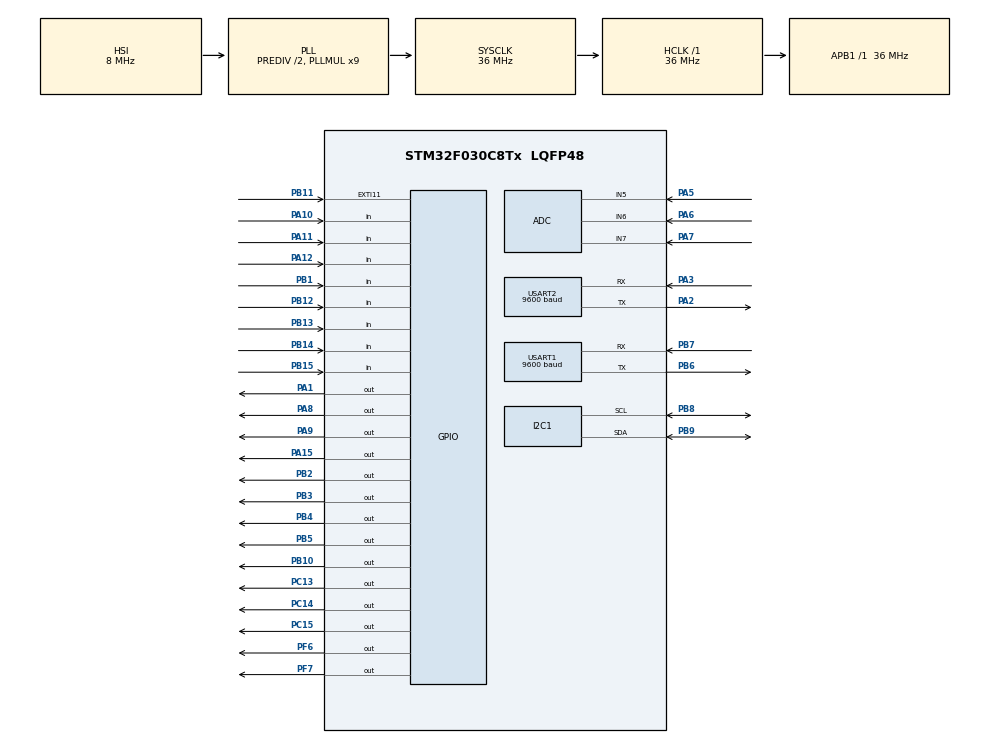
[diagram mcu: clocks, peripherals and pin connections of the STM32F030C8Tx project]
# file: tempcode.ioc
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ADC.ClockPrescaler=ADC_CLOCK_ASYNC_DIV1
ADC.ContinuousConvMode=ENABLE
ADC.DMAContinuousRequests=ENABLE
ADC.ExternalTrigConv=ADC_SOFTWARE_START
ADC.SamplingTime=ADC_SAMPLETIME_28CYCLES_5
Dma.ADC.0.Direction=DMA_PERIPH_TO_MEMORY
Dma.ADC.0.Instance=DMA1_Channel1
Dma.ADC.0.MemDataAlignment=DMA_MDATAALIGN_HALFWORD
Dma.ADC.0.MemInc=DMA_MINC_ENABLE
Dma.ADC.0.Mode=DMA_CIRCULAR
Dma.ADC.0.PeriphDataAlignment=DMA_PDATAALIGN_HALFWORD
Dma.ADC.0.PeriphInc=DMA_PINC_DISABLE
Dma.ADC.0.Priority=DMA_PRIORITY_LOW
Dma.Request0=ADC
Dma.Request1=USART2_RX
Dma.Request2=USART1_RX
Dma.USART1_RX.2.Direction=DMA_PERIPH_TO_MEMORY
Dma.USART1_RX.2.Instance=DMA1_Channel3
Dma.USART1_RX.2.MemDataAlignment=DMA_MDATAALIGN_BYTE
Dma.USART1_RX.2.MemInc=DMA_MINC_ENABLE
Dma.USART1_RX.2.Mode=DMA_NORMAL
Dma.USART1_RX.2.PeriphDataAlignment=DMA_PDATAALIGN_BYTE
Dma.USART1_RX.2.PeriphInc=DMA_PINC_DISABLE
Dma.USART1_RX.2.Priority=DMA_PRIORITY_LOW
Dma.USART2_RX.1.Direction=DMA_PERIPH_TO_MEMORY
Dma.USART2_RX.1.Instance=DMA1_Channel5
Dma.USART2_RX.1.MemDataAlignment=DMA_MDATAALIGN_BYTE
Dma.USART2_RX.1.MemInc=DMA_MINC_ENABLE
Dma.USART2_RX.1.Mode=DMA_NORMAL
Dma.USART2_RX.1.PeriphDataAlignment=DMA_PDATAALIGN_BYTE
Dma.USART2_RX.1.PeriphInc=DMA_PINC_DISABLE
Dma.USART2_RX.1.Priority=DMA_PRIORITY_LOW
I2C1.Timing=0x00808CD2
Mcu.Family=STM32F0
Mcu.Name=STM32F030C8Tx
Mcu.Package=LQFP48
NVIC.DMA1_Channel1_IRQn=true\:0\:0\:false\:false\:true\:false\:true\:true
NVIC.DMA1_Channel2_3_IRQn=true\:0\:0\:false\:false\:true\:false\:true\:true
NVIC.DMA1_Channel4_5_IRQn=true\:0\:0\:false\:false\:true\:false\:true\:true
NVIC.USART1_IRQn=true\:0\:0\:false\:false\:true\:true\:true\:true
NVIC.USART2_IRQn=true\:0\:0\:false\:false\:true\:true\:true\:true
PA1.Signal=GPIO_Output
PA10.Signal=GPIO_Input
PA11.Signal=GPIO_Input
PA12.Signal=GPIO_Input
PA13.Mode=Serial_Wire
PA13.Signal=SYS_SWDIO
PA14.Mode=Serial_Wire
PA14.Signal=SYS_SWCLK
PA15.Signal=GPIO_Output
PA2.Mode=Asynchronous
PA2.Signal=USART2_TX
PA3.Mode=Asynchronous
PA3.Signal=USART2_RX
PA5.Mode=IN5
PA5.Signal=ADC_IN5
PA6.Mode=IN6
PA6.Signal=ADC_IN6
PA7.Mode=IN7
PA7.Signal=ADC_IN7
PA8.Signal=GPIO_Output
PA9.Signal=GPIO_Output
PB1.Signal=GPIO_Input
PB10.Signal=GPIO_Output
PB11.Signal=GPXTI11
PB12.GPIO_PuPd=GPIO_PULLUP
PB12.Signal=GPIO_Input
PB13.GPIO_PuPd=GPIO_PULLUP
PB13.Signal=GPIO_Input
PB14.GPIO_PuPd=GPIO_PULLUP
PB14.Signal=GPIO_Input
PB15.GPIO_PuPd=GPIO_PULLUP
PB15.Signal=GPIO_Input
PB2.Signal=GPIO_Output
PB3.Signal=GPIO_Output
PB4.Signal=GPIO_Output
PB5.Signal=GPIO_Output
PB6.Mode=Asynchronous
PB6.Signal=USART1_TX
PB7.Mode=Asynchronous
PB7.Signal=USART1_RX
PB8.GPIO_Pu=GPIO_PULLUP
PB8.Mode=I2C
PB8.Signal=I2C1_SCL
PB9.GPIO_Pu=GPIO_PULLUP
PB9.Mode=I2C
PB9.Signal=I2C1_SDA
PC13.Signal=GPIO_Output
PC14-OSC32_IN.Signal=GPIO_Output
PC15-OSC32_OUT.Signal=GPIO_Output
PF0-OSC_IN.Mode=HSE-External-Oscillator
PF0-OSC_IN.Signal=RCC_OSC_IN
PF1-OSC_OUT.Mode=HSE-External-Oscillator
PF1-OSC_OUT.Signal=RCC_OSC_OUT
PF6.Signal=GPIO_Output
PF7.Signal=GPIO_Output
ProjectManager.HeapSize=0x200
ProjectManager.StackSize=0x400
ProjectManager.TargetToolchain=Makefile
RCC.AHBFreq_Value=36000000
RCC.APB1Freq_Value=36000000
RCC.APB1TimFreq_Value=36000000
RCC.HCLKFreq_Value=36000000
RCC.I2c1ClockSelection=RCC_I2C1CLKSOURCE_SYSCLK
RCC.PLLDivider=RCC_PREDIV_DIV2
RCC.PLLMUL=RCC_PLL_MUL9
RCC.SYSCLKFreq_VALUE=36000000
RCC.SYSCLKSource=RCC_SYSCLKSOURCE_PLLCLK
USART1.BaudRate=9600
USART1.VirtualMode-Asynchronous=VM_ASYNC
USART2.BaudRate=9600
USART2.VirtualMode-Asynchronous=VM_ASYNC
VP_IWDG_VS_IWDG.Mode=IWDG_Activate
board=custom

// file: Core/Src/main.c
/* USER CODE BEGIN Header */
/**
******************************************************************************
* @file           : main.c
* @brief          : Main program body
******************************************************************************
* @attention
*
* <h2><center>&copy; Copyright (c) 2021 STMicroelectronics.
* All rights reserved.</center></h2>
*
* This software component is licensed by ST under BSD 3-Clause license,
* the "License"; You may not use this file except in compliance with the
* License. You may obtain a copy of the License at:
*                        opensource.org/licenses/BSD-3-Clause
*
******************************************************************************
*/
/* USER CODE END Header */
#include "main.h"

ADC_HandleTypeDef hadc;
DMA_HandleTypeDef hdma_adc;

I2C_HandleTypeDef hi2c1;

IWDG_HandleTypeDef hiwdg;

UART_HandleTypeDef huart1;
UART_HandleTypeDef huart2;
DMA_HandleTypeDef hdma_usart1_rx;
DMA_HandleTypeDef hdma_usart2_rx;

/* USER CODE BEGIN PV */
#include "control.h"
#include "ds18b20.h"
#include "TM1640.h"
#include "24c02.h"
#include "stdio.h"
#include "string.h"
/* USER CODE END PV */

void SystemClock_Config(void);
static void MX_GPIO_Init(void);
static void MX_DMA_Init(void);
static void MX_ADC_Init(void);
static void MX_I2C1_Init(void);
static void MX_USART1_UART_Init(void);
static void MX_USART2_UART_Init(void);
static void MX_IWDG_Init(void);

/* USER CODE BEGIN 0 */
#define MAXRXU2 500
unsigned char RxBufU2[MAXRXU2];
unsigned char TxBufU2[200];
unsigned short RxLenU2=0;
unsigned short rsRxIndex=0;
unsigned char rsPackFlag=0;
unsigned short rsRxTime=0;
unsigned short rsRxLen=0;
unsigned char rsRxBuf[200];
#define ADCPause     HAL_ADC_Stop_DMA(&hadc)
#define ADCContinue  HAL_ADC_Start_DMA(&hadc, (uint32_t*)&AdDataOrig,1500)
#pragma pack(1)

typedef struct {
  signed int Ta;//三个温度
  signed int Tb;
  signed int Tc;
  signed int pTa;//断电前三个温度
  signed int pTb;
  signed int pTc;

  signed int FenH;//风机定时  每隔多少小时
  signed int FenM;//风机定时  持续转几分钟
  signed int Tcala1;//温度补偿
  signed int Tcala2;
  signed int Tcala3;
  signed int Tset1;//启动温度阈值
  signed int Tset2;//关闭
  signed int Tset3;//报警
  signed int Tset4;//故障
  signed int cshuiCha;//除湿回差 三个回差值
  signed int cwhuiCha;//超温报警回差
  signed int tzhuiCha;//跳闸回差
  signed int MnTest;//测试 温度值

  signed int addr;//0 无 1 偶  2 奇
  signed int jojy;
  signed int btlv;

  signed int k1;
  signed int k2;
  signed int k3;
  signed int b1;
  signed int b2;
  signed int b3;
  unsigned char macFlag[17];
}RUDATA;
RUDATA sRundata;
static const unsigned char aucCRCHi[] = {
  0x00, 0xC1, 0x81, 0x40, 0x01, 0xC0, 0x80, 0x41, 0x01, 0xC0, 0x80, 0x41,
  0x00, 0xC1, 0x81, 0x40, 0x01, 0xC0, 0x80, 0x41, 0x00, 0xC1, 0x81, 0x40,
  0x00, 0xC1, 0x81, 0x40, 0x01, 0xC0, 0x80, 0x41, 0x01, 0xC0, 0x80, 0x41,
  0x00, 0xC1, 0x81, 0x40, 0x00, 0xC1, 0x81, 0x40, 0x01, 0xC0, 0x80, 0x41,
  0x00, 0xC1, 0x81, 0x40, 0x01, 0xC0, 0x80, 0x41, 0x01, 0xC0, 0x80, 0x41,
  0x00, 0xC1, 0x81, 0x40, 0x01, 0xC0, 0x80, 0x41, 0x00, 0xC1, 0x81, 0x40,
  0x00, 0xC1, 0x81, 0x40, 0x01, 0xC0, 0x80, 0x41, 0x00, 0xC1, 0x81, 0x40,
  0x01, 0xC0, 0x80, 0x41, 0x01, 0xC0, 0x80, 0x41, 0x00, 0xC1, 0x81, 0x40,
  0x00, 0xC1, 0x81, 0x40, 0x01, 0xC0, 0x80, 0x41, 0x01, 0xC0, 0x80, 0x41,
  0x00, 0xC1, 0x81, 0x40, 0x01, 0xC0, 0x80, 0x41, 0x00, 0xC1, 0x81, 0x40,
  0x00, 0xC1, 0x81, 0x40, 0x01, 0xC0, 0x80, 0x41, 0x01, 0xC0, 0x80, 0x41,
  0x00, 0xC1, 0x81, 0x40, 0x00, 0xC1, 0x81, 0x40, 0x01, 0xC0, 0x80, 0x41,
  0x00, 0xC1, 0x81, 0x40, 0x01, 0xC0, 0x80, 0x41, 0x01, 0xC0, 0x80, 0x41,
  0x00, 0xC1, 0x81, 0x40, 0x00, 0xC1, 0x81, 0x40, 0x01, 0xC0, 0x80, 0x41,
  0x01, 0xC0, 0x80, 0x41, 0x00, 0xC1, 0x81, 0x40, 0x01, 0xC0, 0x80, 0x41,
  0x00, 0xC1, 0x81, 0x40, 0x00, 0xC1, 0x81, 0x40, 0x01, 0xC0, 0x80, 0x41,
  0x00, 0xC1, 0x81, 0x40, 0x01, 0xC0, 0x80, 0x41, 0x01, 0xC0, 0x80, 0x41,
  0x00, 0xC1, 0x81, 0x40, 0x01, 0xC0, 0x80, 0x41, 0x00, 0xC1, 0x81, 0x40,
  0x00, 0xC1, 0x81, 0x40, 0x01, 0xC0, 0x80, 0x41, 0x01, 0xC0, 0x80, 0x41,
  0x00, 0xC1, 0x81, 0x40, 0x00, 0xC1, 0x81, 0x40, 0x01, 0xC0, 0x80, 0x41,
  0x00, 0xC1, 0x81, 0x40, 0x01, 0xC0, 0x80, 0x41, 0x01, 0xC0, 0x80, 0x41,
  0x00, 0xC1, 0x81, 0x40
};

static const unsigned char aucCRCLo[] = {
  0x00, 0xC0, 0xC1, 0x01, 0xC3, 0x03, 0x02, 0xC2, 0xC6, 0x06, 0x07, 0xC7,
  0x05, 0xC5, 0xC4, 0x04, 0xCC, 0x0C, 0x0D, 0xCD, 0x0F, 0xCF, 0xCE, 0x0E,
  0x0A, 0xCA, 0xCB, 0x0B, 0xC9, 0x09, 0x08, 0xC8, 0xD8, 0x18, 0x19, 0xD9,
  0x1B, 0xDB, 0xDA, 0x1A, 0x1E, 0xDE, 0xDF, 0x1F, 0xDD, 0x1D, 0x1C, 0xDC,
  0x14, 0xD4, 0xD5, 0x15, 0xD7, 0x17, 0x16, 0xD6, 0xD2, 0x12, 0x13, 0xD3,
  0x11, 0xD1, 0xD0, 0x10, 0xF0, 0x30, 0x31, 0xF1, 0x33, 0xF3, 0xF2, 0x32,
  0x36, 0xF6, 0xF7, 0x37, 0xF5, 0x35, 0x34, 0xF4, 0x3C, 0xFC, 0xFD, 0x3D,
  0xFF, 0x3F, 0x3E, 0xFE, 0xFA, 0x3A, 0x3B, 0xFB, 0x39, 0xF9, 0xF8, 0x38,
  0x28, 0xE8, 0xE9, 0x29, 0xEB, 0x2B, 0x2A, 0xEA, 0xEE, 0x2E, 0x2F, 0xEF,
  0x2D, 0xED, 0xEC, 0x2C, 0xE4, 0x24, 0x25, 0xE5, 0x27, 0xE7, 0xE6, 0x26,
  0x22, 0xE2, 0xE3, 0x23, 0xE1, 0x21, 0x20, 0xE0, 0xA0, 0x60, 0x61, 0xA1,
  0x63, 0xA3, 0xA2, 0x62, 0x66, 0xA6, 0xA7, 0x67, 0xA5, 0x65, 0x64, 0xA4,
  0x6C, 0xAC, 0xAD, 0x6D, 0xAF, 0x6F, 0x6E, 0xAE, 0xAA, 0x6A, 0x6B, 0xAB,
  0x69, 0xA9, 0xA8, 0x68, 0x78, 0xB8, 0xB9, 0x79, 0xBB, 0x7B, 0x7A, 0xBA,
  0xBE, 0x7E, 0x7F, 0xBF, 0x7D, 0xBD, 0xBC, 0x7C, 0xB4, 0x74, 0x75, 0xB5,
  0x77, 0xB7, 0xB6, 0x76, 0x72, 0xB2, 0xB3, 0x73, 0xB1, 0x71, 0x70, 0xB0,
  0x50, 0x90, 0x91, 0x51, 0x93, 0x53, 0x52, 0x92, 0x96, 0x56, 0x57, 0x97,
  0x55, 0x95, 0x94, 0x54, 0x9C, 0x5C, 0x5D, 0x9D, 0x5F, 0x9F, 0x9E, 0x5E,
  0x5A, 0x9A, 0x9B, 0x5B, 0x99, 0x59, 0x58, 0x98, 0x88, 0x48, 0x49, 0x89,
  0x4B, 0x8B, 0x8A, 0x4A, 0x4E, 0x8E, 0x8F, 0x4F, 0x8D, 0x4D, 0x4C, 0x8C,
  0x44, 0x84, 0x85, 0x45, 0x87, 0x47, 0x46, 0x86, 0x82, 0x42, 0x43, 0x83,
  0x41, 0x81, 0x80, 0x40
};

unsigned short CRC16x( unsigned char * pucFrame, unsigned short usLen )
{
  unsigned char           ucCRCHi = 0xFF;
  unsigned char           ucCRCLo = 0xFF;
  int             iIndex;

  while( usLen-- )
  {
    iIndex = ucCRCLo ^ *( pucFrame++ );
    ucCRCLo = ( unsigned char )( ucCRCHi ^ aucCRCHi[iIndex] );
    ucCRCHi = aucCRCLo[iIndex];
  }
  return ( unsigned short )( ucCRCHi << 8 | ucCRCLo );
}
void LoadReadData(void)
{
  sRundata.Ta=Ta;//三个温度
  sRundata.Tb=Tb;
  sRundata.Tc=Tc;
  sRundata.pTa=pTa;//断电前三个温度
  sRundata.pTb=pTb;
  sRundata.pTc=pTc;

  sRundata.FenH=FenH;//风机定时  每隔多少小时
  sRundata.FenM=FenM;//风机定时  持续转几分钟
  sRundata.Tcala1=Tcala1;//温度补偿
  sRundata.Tcala2=Tcala2;
  sRundata.Tcala3=Tcala3;
  sRundata.Tset1=Tset1;//温度阈值
  sRundata.Tset2=Tset2;
  sRundata.Tset3=Tset3;
  sRundata.Tset4=Tset4;
  sRundata.cshuiCha=cshuiCha;//除湿回差 三个回差值
  sRundata.cwhuiCha=cwhuiCha;//超温报警回差
  sRundata.tzhuiCha=tzhuiCha;//跳闸回差
  sRundata.MnTest=MnTest;//测试 温度值

  sRundata.addr=addr;//0 无 1 偶  2 奇
  sRundata.jojy=jojy;
  sRundata.btlv=btlv;

  sRundata.k1=(signed int)k1*10;
  sRundata.k2=(signed int)k2*10;
  sRundata.k3=(signed int)k3*10;
  sRundata.b1=(signed int)b1*10;
  sRundata.b2=(signed int)b2*10;
  sRundata.b3=(signed int)b3*10;
  unsigned short i=0;
  for(i=0;i<17;i++)
  {
    sRundata.macFlag[i]=macFlag[i];
  }
}
//放到串口空闲中断里
void u2RxIt(void)
{

  __HAL_UART_CLEAR_IDLEFLAG(&huart2);

  HAL_UART_DMAStop(&huart2);

  __HAL_UART_CLEAR_FLAG(&huart2, UART_CLEAR_OREF | UART_CLEAR_NEF | UART_CLEAR_PEF | UART_CLEAR_FEF);

  RxLenU2=MAXRXU2-huart2.hdmarx->Instance->CNDTR;//NDTR;//接收到的字节长度
  unsigned short i=0;

  extern unsigned int addr;
  if(RxBufU2[0]==addr&&
     RxBufU2[1]==0x03&&
     RxBufU2[2]==0x00&&
     RxBufU2[3]==0x00&&
     RxBufU2[4]==0x00&&
     RxBufU2[5]==0x05&&RxLenU2==8
               )
  {
    i=0;
    TxBufU2[0]=addr;
    TxBufU2[1]=0x03;
    TxBufU2[2]=0x0A;
    unsigned short Tmp=0;
    if(Ta>Tset3)Tmp=Tmp|0x0001;else Tmp=Tmp&(~0x0001);
    if(Tb>Tset3)Tmp=Tmp|0x0002;else Tmp=Tmp&(~0x0002);
    if(Tc>Tset3)Tmp=Tmp|0x0004;else Tmp=Tmp&(~0x0004);
    if(macFlag[0]!=0)Tmp=Tmp|0x0008;else Tmp=Tmp&(~0x0008);
    if(macFlag[1]!=0)Tmp=Tmp|0x0010;else Tmp=Tmp&(~0x0010);
    if(macFlag[2]!=0)Tmp=Tmp|0x0020;else Tmp=Tmp&(~0x0020);
    TxBufU2[3]=Tmp>>8;
    TxBufU2[4]=Tmp>>0;
    signed short Txxx=0;
    Txxx=Ta*10+0x23;
    TxBufU2[5]=Txxx>>8;
    TxBufU2[6]=Txxx>>0;
    Txxx=Tb*10+0x23;
    TxBufU2[7]=Txxx>>8;
    TxBufU2[8]=Txxx>>0;
    Txxx=Tc*10+0x23;
    TxBufU2[9]=Txxx>>8;
    TxBufU2[10]=Txxx>>0;
    TxBufU2[11]=FenH>>8;
    TxBufU2[12]=FenH>>0;
    unsigned short crc1,crc2;
    crc1=crc2=CRC16x(TxBufU2,13);
    TxBufU2[13]=((crc1)&0xff);
    TxBufU2[14]=((crc2>>8)&0xff);

    TxEn;ADCPause;
    HAL_UART_Transmit(&huart2, TxBufU2, 15, 100);ADCContinue;
  }
  if(//自动 手动开 手动关
     RxBufU2[0]==0xFA&&
     RxBufU2[1]==0x04&&
     RxBufU2[2]==0xD1&&
     RxBufU2[5]==0xFB&&RxLenU2==6
             )
  {
    macFlag[12]=RxBufU2[3];ADCPause;
    TxEn;HAL_UART_Transmit(&huart2, RxBufU2, rsRxIndex, 100);ADCContinue;
  }

  if(//非消音 消音
     RxBufU2[0]==0xFA&&
     RxBufU2[1]==0x04&&
     RxBufU2[2]==0xD2&&
     RxBufU2[5]==0xFB&&RxLenU2==6
             )
  {
    macFlag[15]=RxBufU2[3];ADCPause;
    TxEn;HAL_UART_Transmit(&huart2, RxBufU2, rsRxIndex, 100);ADCContinue;
  }

  if(//读取所有参数
     RxBufU2[0]==0xFA&&
     RxBufU2[1]==0x04&&
     RxBufU2[2]==0xF1&&
     RxBufU2[5]==0xFB&&RxLenU2==6
             )
  {
    i=0;
    TxBufU2[i++]=0xFA;
    TxBufU2[i++]=0x04;
    TxBufU2[i++]=0xF1;
    unsigned int sDataLen=sizeof(sRundata);
    LoadReadData();
    memcpy(&TxBufU2[i],(unsigned char *)&sRundata,sDataLen);i=i+sDataLen;
    TxBufU2[i++]=0xFB;ADCPause;
    TxEn;HAL_UART_Transmit(&huart2, TxBufU2, i, 100);ADCContinue;
  }
  HAL_UART_Receive_DMA(&huart2, RxBufU2, MAXRXU2); //再次开启DMA接收
  RxEn;
}

/* USER CODE END 0 */

int main(void)
{

  /* MCU Configuration--------------------------------------------------------*/

  /* Reset of all peripherals, Initializes the Flash interface and the Systick. */
  HAL_Init();

  /* Configure the system clock */
  SystemClock_Config();

  /* Initialize all configured peripherals */
  MX_GPIO_Init();
  MX_DMA_Init();
  MX_ADC_Init();
  MX_I2C1_Init();
  MX_USART1_UART_Init();
  MX_USART2_UART_Init();
  //MX_IWDG_Init();
  /* USER CODE BEGIN 2 */
  DS18B20Configuration();

  TM1640_GPIO_Config();
  HAL_ADC_Start_DMA(&hadc, (uint32_t*)&AdDataOrig,1500);// 开启采样
  JDQ1_L;
  JDQ2_L;
  JDQ3_L;
  JDQ4_L;
  JDQ5_L;
  JDQ6_L;
  LoadPara();
  RxEn;
  HAL_UART_Receive_DMA(&huart2, RxBufU2, MAXRXU2);
  __HAL_UART_ENABLE_IT(&huart2, UART_IT_IDLE);
  BeepOn;
  /* USER CODE END 2 */

  /* Infinite loop */
  while (1)
  {

    /* USER CODE BEGIN 3 */
    ReadKey();
    //HAL_IWDG_Refresh(&hiwdg);
  }
  /* USER CODE END 3 */
}

void SystemClock_Config(void)
{
  RCC_OscInitTypeDef RCC_OscInitStruct = {0};
  RCC_ClkInitTypeDef RCC_ClkInitStruct = {0};
  RCC_PeriphCLKInitTypeDef PeriphClkInit = {0};

  /** Initializes the RCC Oscillators according to the specified parameters
  * in the RCC_OscInitTypeDef structure.
  */
  RCC_OscInitStruct.OscillatorType = RCC_OSCILLATORTYPE_HSI|RCC_OSCILLATORTYPE_HSI14
                              |RCC_OSCILLATORTYPE_LSI;
  RCC_OscInitStruct.HSIState = RCC_HSI_ON;
  RCC_OscInitStruct.HSI14State = RCC_HSI14_ON;
  RCC_OscInitStruct.HSICalibrationValue = RCC_HSICALIBRATION_DEFAULT;
  RCC_OscInitStruct.HSI14CalibrationValue = 16;
  RCC_OscInitStruct.LSIState = RCC_LSI_ON;
  RCC_OscInitStruct.PLL.PLLState = RCC_PLL_ON;
  RCC_OscInitStruct.PLL.PLLSource = RCC_PLLSOURCE_HSI;
  RCC_OscInitStruct.PLL.PLLMUL = RCC_PLL_MUL9;
  RCC_OscInitStruct.PLL.PREDIV = RCC_PREDIV_DIV2;
  if (HAL_RCC_OscConfig(&RCC_OscInitStruct) != HAL_OK)
  {
    Error_Handler();
  }

  /** Initializes the CPU, AHB and APB buses clocks
  */
  RCC_ClkInitStruct.ClockType = RCC_CLOCKTYPE_HCLK|RCC_CLOCKTYPE_SYSCLK
                              |RCC_CLOCKTYPE_PCLK1;
  RCC_ClkInitStruct.SYSCLKSource = RCC_SYSCLKSOURCE_PLLCLK;
  RCC_ClkInitStruct.AHBCLKDivider = RCC_SYSCLK_DIV1;
  RCC_ClkInitStruct.APB1CLKDivider = RCC_HCLK_DIV1;

  if (HAL_RCC_ClockConfig(&RCC_ClkInitStruct, FLASH_LATENCY_1) != HAL_OK)
  {
    Error_Handler();
  }
  PeriphClkInit.PeriphClockSelection = RCC_PERIPHCLK_USART1|RCC_PERIPHCLK_I2C1;
  PeriphClkInit.Usart1ClockSelection = RCC_USART1CLKSOURCE_PCLK1;
  PeriphClkInit.I2c1ClockSelection = RCC_I2C1CLKSOURCE_SYSCLK;
  if (HAL_RCCEx_PeriphCLKConfig(&PeriphClkInit) != HAL_OK)
  {
    Error_Handler();
  }
}

static void MX_ADC_Init(void)
{

  ADC_ChannelConfTypeDef sConfig = {0};

  /** Configure the global features of the ADC (Clock, Resolution, Data Alignment and number of conversion)
  */
  hadc.Instance = ADC1;
  hadc.Init.ClockPrescaler = ADC_CLOCK_ASYNC_DIV1;
  hadc.Init.Resolution = ADC_RESOLUTION_12B;
  hadc.Init.DataAlign = ADC_DATAALIGN_RIGHT;
  hadc.Init.ScanConvMode = ADC_SCAN_DIRECTION_FORWARD;
  hadc.Init.EOCSelection = ADC_EOC_SINGLE_CONV;
  hadc.Init.LowPowerAutoWait = DISABLE;
  hadc.Init.LowPowerAutoPowerOff = DISABLE;
  hadc.Init.ContinuousConvMode = ENABLE;
  hadc.Init.DiscontinuousConvMode = DISABLE;
  hadc.Init.ExternalTrigConv = ADC_SOFTWARE_START;
  hadc.Init.ExternalTrigConvEdge = ADC_EXTERNALTRIGCONVEDGE_NONE;
  hadc.Init.DMAContinuousRequests = ENABLE;
  hadc.Init.Overrun = ADC_OVR_DATA_PRESERVED;
  if (HAL_ADC_Init(&hadc) != HAL_OK)
  {
    Error_Handler();
  }

  /** Configure for the selected ADC regular channel to be converted.
  */
  sConfig.Channel = ADC_CHANNEL_5;
  sConfig.Rank = ADC_RANK_CHANNEL_NUMBER;
  sConfig.SamplingTime = ADC_SAMPLETIME_7CYCLES_5;
  if (HAL_ADC_ConfigChannel(&hadc, &sConfig) != HAL_OK)
  {
    Error_Handler();
  }

  /** Configure for the selected ADC regular channel to be converted.
  */
  sConfig.Channel = ADC_CHANNEL_6;
  if (HAL_ADC_ConfigChannel(&hadc, &sConfig) != HAL_OK)
  {
    Error_Handler();
  }

  /** Configure for the selected ADC regular channel to be converted.
  */
  sConfig.Channel = ADC_CHANNEL_7;
  if (HAL_ADC_ConfigChannel(&hadc, &sConfig) != HAL_OK)
  {
    Error_Handler();
  }

}

static void MX_I2C1_Init(void)
{

  hi2c1.Instance = I2C1;
  hi2c1.Init.Timing = 0x00808CD2;
  hi2c1.Init.OwnAddress1 = 0;
  hi2c1.Init.AddressingMode = I2C_ADDRESSINGMODE_7BIT;
  hi2c1.Init.DualAddressMode = I2C_DUALADDRESS_DISABLE;
  hi2c1.Init.OwnAddress2 = 0;
  hi2c1.Init.OwnAddress2Masks = I2C_OA2_NOMASK;
  hi2c1.Init.GeneralCallMode = I2C_GENERALCALL_DISABLE;
  hi2c1.Init.NoStretchMode = I2C_NOSTRETCH_DISABLE;
  if (HAL_I2C_Init(&hi2c1) != HAL_OK)
  {
    Error_Handler();
  }

  /** Configure Analogue filter
  */
  if (HAL_I2CEx_ConfigAnalogFilter(&hi2c1, I2C_ANALOGFILTER_ENABLE) != HAL_OK)
  {
    Error_Handler();
  }

  /** Configure Digital filter
  */
  if (HAL_I2CEx_ConfigDigitalFilter(&hi2c1, 0) != HAL_OK)
  {
    Error_Handler();
  }

}

static void MX_IWDG_Init(void)
{

  hiwdg.Instance = IWDG;
  hiwdg.Init.Prescaler = IWDG_PRESCALER_4;
  hiwdg.Init.Window = 4095;
  hiwdg.Init.Reload = 4095;
  if (HAL_IWDG_Init(&hiwdg) != HAL_OK)
  {
    Error_Handler();
  }

}

static void MX_USART1_UART_Init(void)
{

  huart1.Instance = USART1;
  huart1.Init.BaudRate = 9600;
  huart1.Init.WordLength = UART_WORDLENGTH_8B;
  huart1.Init.StopBits = UART_STOPBITS_1;
  huart1.Init.Parity = UART_PARITY_NONE;
  huart1.Init.Mode = UART_MODE_TX_RX;
  huart1.Init.HwFlowCtl = UART_HWCONTROL_NONE;
  huart1.Init.OverSampling = UART_OVERSAMPLING_16;
  huart1.Init.OneBitSampling = UART_ONE_BIT_SAMPLE_DISABLE;
  huart1.AdvancedInit.AdvFeatureInit = UART_ADVFEATURE_NO_INIT;
  if (HAL_UART_Init(&huart1) != HAL_OK)
  {
    Error_Handler();
  }

}

static void MX_USART2_UART_Init(void)
{

  huart2.Instance = USART2;
  huart2.Init.BaudRate = 9600;
  huart2.Init.WordLength = UART_WORDLENGTH_8B;
  huart2.Init.StopBits = UART_STOPBITS_1;
  huart2.Init.Parity = UART_PARITY_NONE;
  huart2.Init.Mode = UART_MODE_TX_RX;
  huart2.Init.HwFlowCtl = UART_HWCONTROL_NONE;
  huart2.Init.OverSampling = UART_OVERSAMPLING_16;
  huart2.Init.OneBitSampling = UART_ONE_BIT_SAMPLE_DISABLE;
  huart2.AdvancedInit.AdvFeatureInit = UART_ADVFEATURE_NO_INIT;
  if (HAL_UART_Init(&huart2) != HAL_OK)
  {
    Error_Handler();
  }

}

static void MX_DMA_Init(void)
{

  /* DMA controller clock enable */
  __HAL_RCC_DMA1_CLK_ENABLE();

  /* DMA interrupt init */
  /* DMA1_Channel1_IRQn interrupt configuration */
  HAL_NVIC_SetPriority(DMA1_Channel1_IRQn, 0, 0);
  HAL_NVIC_EnableIRQ(DMA1_Channel1_IRQn);
  /* DMA1_Channel2_3_IRQn interrupt configuration */
  HAL_NVIC_SetPriority(DMA1_Channel2_3_IRQn, 0, 0);
  HAL_NVIC_EnableIRQ(DMA1_Channel2_3_IRQn);
  /* DMA1_Channel4_5_IRQn interrupt configuration */
  HAL_NVIC_SetPriority(DMA1_Channel4_5_IRQn, 0, 0);
  HAL_NVIC_EnableIRQ(DMA1_Channel4_5_IRQn);

}

static void MX_GPIO_Init(void)
{
  GPIO_InitTypeDef GPIO_InitStruct = {0};

  /* GPIO Ports Clock Enable */
  __HAL_RCC_GPIOC_CLK_ENABLE();
  __HAL_RCC_GPIOF_CLK_ENABLE();
  __HAL_RCC_GPIOA_CLK_ENABLE();
  __HAL_RCC_GPIOB_CLK_ENABLE();

  /*Configure GPIO pin Output Level */
  HAL_GPIO_WritePin(GPIOC, GPIO_PIN_13|GPIO_PIN_14|GPIO_PIN_15, GPIO_PIN_RESET);

  /*Configure GPIO pin Output Level */
  HAL_GPIO_WritePin(GPIOA, GPIO_PIN_1|GPIO_PIN_8|GPIO_PIN_9|GPIO_PIN_15, GPIO_PIN_RESET);

  /*Configure GPIO pin Output Level */
  HAL_GPIO_WritePin(GPIOB, GPIO_PIN_2|GPIO_PIN_10|GPIO_PIN_3|GPIO_PIN_4
                          |GPIO_PIN_5, GPIO_PIN_RESET);

  /*Configure GPIO pin Output Level */
  HAL_GPIO_WritePin(GPIOF, GPIO_PIN_6|GPIO_PIN_7, GPIO_PIN_RESET);

  /*Configure GPIO pins : PC13 PC14 PC15 */
  GPIO_InitStruct.Pin = GPIO_PIN_13|GPIO_PIN_14|GPIO_PIN_15;
  GPIO_InitStruct.Mode = GPIO_MODE_OUTPUT_PP;
  GPIO_InitStruct.Pull = GPIO_NOPULL;
  GPIO_InitStruct.Speed = GPIO_SPEED_FREQ_LOW;
  HAL_GPIO_Init(GPIOC, &GPIO_InitStruct);

  /*Configure GPIO pins : PA1 PA8 PA9 PA15 */
  GPIO_InitStruct.Pin = GPIO_PIN_1|GPIO_PIN_8|GPIO_PIN_9|GPIO_PIN_15;
  GPIO_InitStruct.Mode = GPIO_MODE_OUTPUT_PP;
  GPIO_InitStruct.Pull = GPIO_NOPULL;
  GPIO_InitStruct.Speed = GPIO_SPEED_FREQ_LOW;
  HAL_GPIO_Init(GPIOA, &GPIO_InitStruct);

  /*Configure GPIO pin : PB1 */
  GPIO_InitStruct.Pin = GPIO_PIN_1;
  GPIO_InitStruct.Mode = GPIO_MODE_INPUT;
  GPIO_InitStruct.Pull = GPIO_NOPULL;
  HAL_GPIO_Init(GPIOB, &GPIO_InitStruct);

  /*Configure GPIO pins : PB2 PB10 PB3 PB4
                           PB5 */
  GPIO_InitStruct.Pin = GPIO_PIN_2|GPIO_PIN_10|GPIO_PIN_3|GPIO_PIN_4
                          |GPIO_PIN_5;
  GPIO_InitStruct.Mode = GPIO_MODE_OUTPUT_PP;
  GPIO_InitStruct.Pull = GPIO_NOPULL;
  GPIO_InitStruct.Speed = GPIO_SPEED_FREQ_LOW;
  HAL_GPIO_Init(GPIOB, &GPIO_InitStruct);

  /*Configure GPIO pin : PB11 */
  GPIO_InitStruct.Pin = GPIO_PIN_11;
  GPIO_InitStruct.Mode = GPIO_MODE_IT_RISING;
  GPIO_InitStruct.Pull = GPIO_NOPULL;
  HAL_GPIO_Init(GPIOB, &GPIO_InitStruct);

  /*Configure GPIO pins : PB12 PB13 PB14 PB15 */
  GPIO_InitStruct.Pin = GPIO_PIN_12|GPIO_PIN_13|GPIO_PIN_14|GPIO_PIN_15;
  GPIO_InitStruct.Mode = GPIO_MODE_INPUT;
  GPIO_InitStruct.Pull = GPIO_PULLUP;
  HAL_GPIO_Init(GPIOB, &GPIO_InitStruct);

  /*Configure GPIO pins : PA10 PA11 PA12 */
  GPIO_InitStruct.Pin = GPIO_PIN_10|GPIO_PIN_11|GPIO_PIN_12;
  GPIO_InitStruct.Mode = GPIO_MODE_INPUT;
  GPIO_InitStruct.Pull = GPIO_NOPULL;
  HAL_GPIO_Init(GPIOA, &GPIO_InitStruct);

  /*Configure GPIO pins : PF6 PF7 */
  GPIO_InitStruct.Pin = GPIO_PIN_6|GPIO_PIN_7;
  GPIO_InitStruct.Mode = GPIO_MODE_OUTPUT_PP;
  GPIO_InitStruct.Pull = GPIO_PULLUP;
  GPIO_InitStruct.Speed = GPIO_SPEED_FREQ_LOW;
  HAL_GPIO_Init(GPIOF, &GPIO_InitStruct);

}

void Error_Handler(void)
{
}
